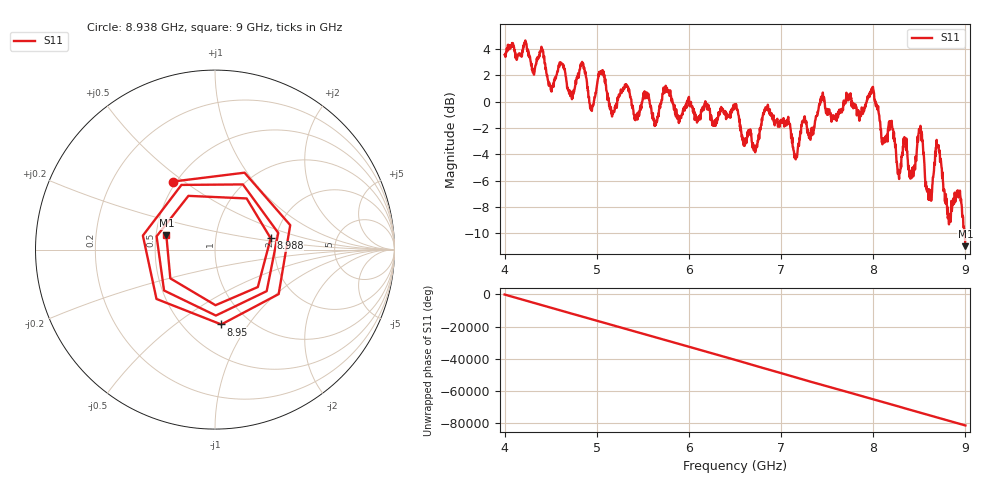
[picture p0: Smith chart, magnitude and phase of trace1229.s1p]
! Created with skrf 1.8.0 (http://scikit-rf.org).
# Hz S RI R 50.0
!freq ReS11 ImS11
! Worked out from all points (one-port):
!   1601 points, 4 GHz to 9 GHz, reference 50 ohm
!   lowest |S11| = -11.0 dB at 9 GHz (marker M1), VSWR 1.79, Z = 28.4 + j4.86 ohm
!   |S11| at or under -10 dB: 8.991297 GHz to end of sweep
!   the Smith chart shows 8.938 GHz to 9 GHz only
!   S11 on the Smith chart (normalised r, x): 8.938 GHz: 0.48, +0.46; 8.95 GHz: 0.75, -0.75; 8.988 GHz: 1.88, +0.26; 9 GHz: 0.57, +0.10
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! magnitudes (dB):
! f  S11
! 4 GHz  3.6
! 4.406 GHz  4.0
! 4.506 GHz  1.2
! 4.625 GHz  2.8
! 4.722 GHz  0.6
! 4.853 GHz  2.9
! 4.944 GHz  -0.7
! 5.044 GHz  2.2
! 5.166 GHz  -1.1
! 5.25 GHz  0.5
! 5.875 GHz  -1.2
! 6.5 GHz  -0.3
! 6.6 GHz  -2.9
! 6.847 GHz  -0.4
! 7.125 GHz  -3.4
! 7.75 GHz  0.4
! 7.991 GHz  0.7
! 8.278 GHz  -5.7
! 8.375 GHz  -4.4
! 8.428 GHz  -5.4
! 8.512 GHz  -1.8
! 8.606 GHz  -6.7
! 8.697 GHz  -3.4
! 8.816 GHz  -8.6
! 8.938 GHz  -7.0
! 8.95 GHz  -7.6
! 8.988 GHz  -10.0
! 9 GHz  -11.0
